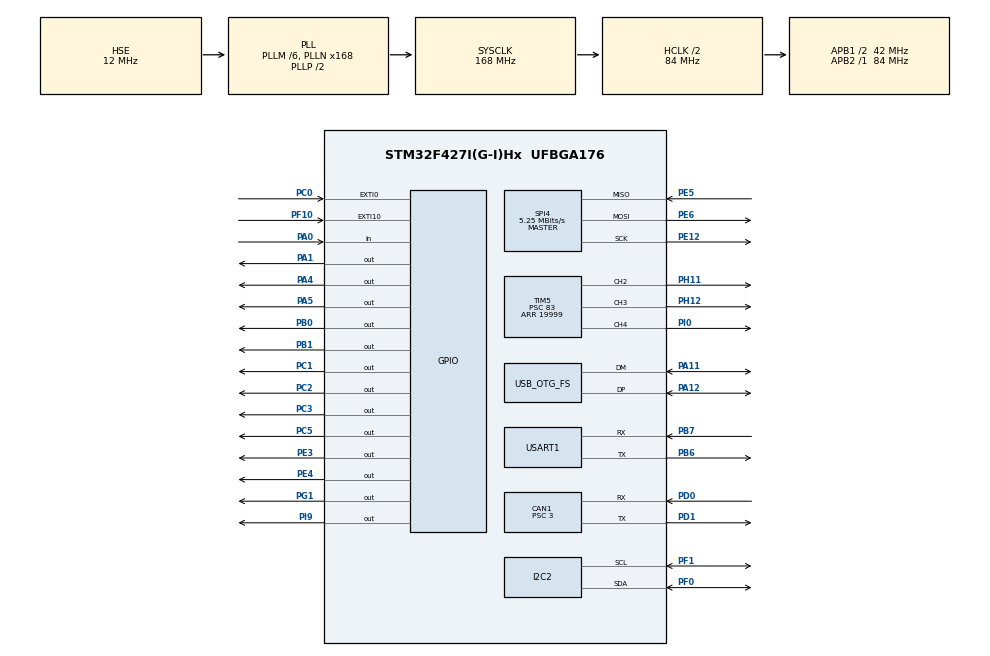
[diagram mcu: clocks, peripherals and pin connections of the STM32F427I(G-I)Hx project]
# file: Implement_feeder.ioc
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CAN1.BS1=CAN_BS1_9TQ
CAN1.BS2=CAN_BS2_4TQ
CAN1.CalculateBaudRate=1000000
CAN1.CalculateTimeBit=1000
CAN1.CalculateTimeQuantum=71.42857142857143
CAN1.Prescaler=3
Dma.Request0=USART1_RX
Dma.Request1=SPI4_TX
Dma.SPI4_TX.1.Direction=DMA_MEMORY_TO_PERIPH
Dma.SPI4_TX.1.FIFOMode=DMA_FIFOMODE_DISABLE
Dma.SPI4_TX.1.Instance=DMA2_Stream1
Dma.SPI4_TX.1.MemDataAlignment=DMA_MDATAALIGN_BYTE
Dma.SPI4_TX.1.MemInc=DMA_MINC_ENABLE
Dma.SPI4_TX.1.Mode=DMA_NORMAL
Dma.SPI4_TX.1.PeriphDataAlignment=DMA_PDATAALIGN_BYTE
Dma.SPI4_TX.1.PeriphInc=DMA_PINC_DISABLE
Dma.SPI4_TX.1.Priority=DMA_PRIORITY_LOW
Dma.USART1_RX.0.Direction=DMA_PERIPH_TO_MEMORY
Dma.USART1_RX.0.FIFOMode=DMA_FIFOMODE_DISABLE
Dma.USART1_RX.0.Instance=DMA2_Stream2
Dma.USART1_RX.0.MemDataAlignment=DMA_MDATAALIGN_BYTE
Dma.USART1_RX.0.MemInc=DMA_MINC_ENABLE
Dma.USART1_RX.0.Mode=DMA_CIRCULAR
Dma.USART1_RX.0.PeriphDataAlignment=DMA_PDATAALIGN_BYTE
Dma.USART1_RX.0.PeriphInc=DMA_PINC_DISABLE
Dma.USART1_RX.0.Priority=DMA_PRIORITY_LOW
FREERTOS.Tasks01=defaultTask,24,128,StartDefaultTask,Default,NULL,Dynamic,NULL,NULL;feederTask,24,128,FeederTask,As weak,NULL,Dynamic,NULL,NULL
FREERTOS.configUSE_NEWLIB_REENTRANT=1
Mcu.Family=STM32F4
Mcu.Name=STM32F427I(G-I)Hx
Mcu.Package=UFBGA176
NVIC.CAN1_RX0_IRQn=true\:5\:0\:false\:false\:true\:true\:true\:true\:true
NVIC.DMA2_Stream1_IRQn=true\:5\:0\:false\:false\:true\:true\:false\:true\:true
NVIC.DMA2_Stream2_IRQn=true\:5\:0\:false\:false\:true\:true\:false\:true\:true
NVIC.EXTI0_IRQn=true\:5\:0\:false\:false\:true\:true\:true\:true\:true
NVIC.EXTI15_10_IRQn=true\:5\:0\:false\:false\:true\:true\:true\:true\:true
NVIC.OTG_FS_IRQn=true\:5\:0\:false\:false\:true\:true\:true\:true\:true
NVIC.PriorityGroup=NVIC_PRIORITYGROUP_4
NVIC.TIM6_DAC_IRQn=true\:15\:0\:false\:false\:true\:false\:false\:true\:true
NVIC.TimeBase=TIM6_DAC_IRQn
NVIC.TimeBaseIP=TIM6
NVIC.USART1_IRQn=true\:5\:0\:false\:false\:true\:true\:true\:true\:true
PA0/WKUP.GPIO_PuPd=GPIO_PULLUP
PA0/WKUP.Signal=GPIO_Input
PA1.Signal=GPIO_Output
PA11.Mode=Device_Only
PA11.Signal=USB_OTG_FS_DM
PA12.Mode=Device_Only
PA12.Signal=USB_OTG_FS_DP
PA13.Mode=Serial_Wire
PA13.Signal=SYS_JTMS-SWDIO
PA14.Mode=Serial_Wire
PA14.Signal=SYS_JTCK-SWCLK
PA4.Signal=GPIO_Output
PA5.Signal=GPIO_Output
PB0.Signal=GPIO_Output
PB1.Signal=GPIO_Output
PB6.Mode=Asynchronous
PB6.Signal=USART1_TX
PB7.Mode=Asynchronous
PB7.Signal=USART1_RX
PC0.GPIO_ModeDefaultEXTI=GPIO_MODE_IT_FALLING
PC0.GPIO_PuPd=GPIO_PULLUP
PC0.Signal=GPXTI0
PC1.Signal=GPIO_Output
PC2.Signal=GPIO_Output
PC3.Signal=GPIO_Output
PC5.Signal=GPIO_Output
PD0.Mode=CAN_Activate
PD0.Signal=CAN1_RX
PD1.Mode=CAN_Activate
PD1.Signal=CAN1_TX
PE12.Mode=Full_Duplex_Master
PE12.Signal=SPI4_SCK
PE3.Signal=GPIO_Output
PE4.Signal=GPIO_Output
PE5.Mode=Full_Duplex_Master
PE5.Signal=SPI4_MISO
PE6.Mode=Full_Duplex_Master
PE6.Signal=SPI4_MOSI
PF0.Mode=I2C
PF0.Signal=I2C2_SDA
PF1.Mode=I2C
PF1.Signal=I2C2_SCL
PF10.GPIO_ModeDefaultEXTI=GPIO_MODE_IT_FALLING
PF10.GPIO_PuPd=GPIO_PULLUP
PF10.Signal=GPXTI10
PG1.Signal=GPIO_Output
PH0/OSC_IN.Mode=HSE-External-Oscillator
PH0/OSC_IN.Signal=RCC_OSC_IN
PH1/OSC_OUT.Mode=HSE-External-Oscillator
PH1/OSC_OUT.Signal=RCC_OSC_OUT
PH11.Signal=S_TIM5_CH2
PH12.Signal=S_TIM5_CH3
PI0.Signal=S_TIM5_CH4
PI9.Signal=GPIO_Output
ProjectManager.HeapSize=0x200
ProjectManager.StackSize=0x400
ProjectManager.TargetToolchain=STM32CubeIDE
RCC.48MHZClocksFreq_Value=48000000
RCC.AHBCLKDivider=RCC_SYSCLK_DIV2
RCC.AHBFreq_Value=84000000
RCC.APB1CLKDivider=RCC_HCLK_DIV2
RCC.APB1Freq_Value=42000000
RCC.APB1TimFreq_Value=84000000
RCC.APB2Freq_Value=84000000
RCC.APB2TimFreq_Value=84000000
RCC.CortexFreq_Value=84000000
RCC.HCLKFreq_Value=84000000
RCC.HSE_VALUE=12000000
RCC.HSI_VALUE=16000000
RCC.LSE_VALUE=32768
RCC.PLLM=6
RCC.PLLN=168
RCC.PLLQ=7
RCC.SYSCLKFreq_VALUE=168000000
RCC.SYSCLKSource=RCC_SYSCLKSOURCE_PLLCLK
RCC.VCOOutputFreq_Value=336000000
SH.S_TIM5_CH2.0=TIM5_CH2,PWM Generation2 CH2
SH.S_TIM5_CH3.0=TIM5_CH3,PWM Generation3 CH3
SH.S_TIM5_CH4.0=TIM5_CH4,PWM Generation4 CH4
SPI4.BaudRatePrescaler=SPI_BAUDRATEPRESCALER_16
SPI4.CalculateBaudRate=5.25 MBits/s
SPI4.DataSize=SPI_DATASIZE_8BIT
SPI4.Direction=SPI_DIRECTION_2LINES
SPI4.Mode=SPI_MODE_MASTER
SPI4.VirtualType=VM_MASTER
TIM5.Channel-PWM\ Generation2\ CH2=TIM_CHANNEL_2
TIM5.Channel-PWM\ Generation3\ CH3=TIM_CHANNEL_3
TIM5.Channel-PWM\ Generation4\ CH4=TIM_CHANNEL_4
TIM5.Period=19999
TIM5.Prescaler=83
USART1.VirtualMode=VM_ASYNC
USB_DEVICE.CLASS_NAME_FS=CDC
USB_DEVICE.VirtualMode-CDC_FS=Cdc
USB_DEVICE.VirtualModeFS=Cdc_FS
USB_OTG_FS.VirtualMode=Device_Only
VP_DMA2D_VS_DMA2D.Mode=DMA2D_Activate
VP_FREERTOS_VS_CMSIS_V2.Mode=CMSIS_V2
VP_SYS_VS_tim6.Mode=TIM6
VP_USB_DEVICE_VS_USB_DEVICE_CDC_FS.Mode=CDC_FS
board=custom

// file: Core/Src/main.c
/* USER CODE BEGIN Header */
/**
  ******************************************************************************
  * @file           : main.c
  * @brief          : Main program body
  ******************************************************************************
  * @attention
  *
  * Copyright (c) 2025 STMicroelectronics.
  * All rights reserved.
  *
  * This software is licensed under terms that can be found in the LICENSE file
  * in the root directory of this software component.
  * If no LICENSE file comes with this software, it is provided AS-IS.
  *
  ******************************************************************************
  */
/* USER CODE END Header */
#include "main.h"
#include "cmsis_os.h"
#include "usb_device.h"

/* USER CODE BEGIN Includes */
#include "remote_control.h"
#include "hx711.h"
#include "./LCD_CAP/LCD/lcd.h"
#include "./LCD_CAP/TOUCH/touch.h"
#include "./LCD_CAP/GUI/GUI.h"
#include "lvgl.h"
//#include "lvgl_private.h"
#include <stdio.h>
#include "ui.h"
#include "usbd_cdc_if.h"
#include <string.h>
#include "bsp_damiao.h"
#include <math.h>

/* USER CODE END Includes */

/* USER CODE BEGIN PTD */
int16_t motor_rpm1;
/* USER CODE END PTD */

/* USER CODE BEGIN PD */
#define MY_DISP_VER_RES LCD_H
#define MY_DISP_HOR_RES LCD_W
/* Declare buffer for 1/10 screen size; BYTES_PER_PIXEL will be 2 for RGB565. */
#define BYTES_PER_PIXEL (LV_COLOR_FORMAT_GET_SIZE(LV_COLOR_FORMAT_RGB565))
#define buffer_divide 10
static uint8_t buf1[LCD_W * LCD_H / buffer_divide * BYTES_PER_PIXEL];
//static uint8_t buf2[LCD_W * LCD_H / buffer_divide * BYTES_PER_PIXEL];
volatile lv_mutex_t lv_mutex;

#define USB_LEN 128
uint8_t usbTxtBuf[USB_LEN];
/* USER CODE END PD */

CAN_HandleTypeDef hcan1;

DMA2D_HandleTypeDef hdma2d;

I2C_HandleTypeDef hi2c2;

SPI_HandleTypeDef hspi4;
DMA_HandleTypeDef hdma_spi4_tx;

TIM_HandleTypeDef htim5;

UART_HandleTypeDef huart1;
DMA_HandleTypeDef hdma_usart1_rx;

/* Definitions for defaultTask */
osThreadId_t defaultTaskHandle;
const osThreadAttr_t defaultTask_attributes = {
  .name = "defaultTask",
  .stack_size = 128 * 4,
  .priority = (osPriority_t) osPriorityNormal,
};
/* Definitions for feederTask */
osThreadId_t feederTaskHandle;
const osThreadAttr_t feederTask_attributes = {
  .name = "feederTask",
  .stack_size = 128 * 4,
  .priority = (osPriority_t) osPriorityNormal,
};
/* USER CODE BEGIN PV */

static uint32_t ui_stack[4096];        // 4096 words = 16 KB
static StaticTask_t ui_tcb;

static const osThreadAttr_t ui_attr = {
  .name       = "ui",
  .stack_mem  = ui_stack,
  .stack_size = sizeof(ui_stack),      // BYTES
  .cb_mem     = &ui_tcb,
  .cb_size    = sizeof(ui_tcb),
  .priority   = osPriorityNormal,
};
RC_ctrl_t rc_ctrl;
HX711 hx;
int32_t weight;
int32_t value;
extern int16_t _width;       								///< (oriented) display width
extern int16_t _height;
int32_t count = 450;
char buf_txt[32];
volatile lv_display_t * display1;
volatile uint8_t touch_flag;
//uint8_t Displ_SpiAvailable;
static lv_indev_t * touch_indev;
static lv_obj_t * keypad_ta;

extern dm_motor_t dm_pitch_motor;
float target_rpm = 0.0f;          /* Desired speed setpoint in RPM; update this variable to change target */
float commanded_rpm = 0.0f;       /* Internally ramped RPM command */
float measured_rpm = 0.0f;
float pid_int = 0.0f;
float pid_prev_err = 0.0f;

float target_position = 0.0f;
float current_position = 0.0f;
int round_counter = 0;
float tolerance = 0.06f;
float prev_pos = 0.0f;

//faster pid values
//static float pos_kp = 7.0f;
//static float pos_kd = 0.4f;

//not as fast pid values
float pos_kp = 0.5f;
float pos_kd = 0.0f;
/* USER CODE END PV */

void SystemClock_Config(void);
static void MX_GPIO_Init(void);
static void MX_DMA_Init(void);
static void MX_CAN1_Init(void);
static void MX_USART1_UART_Init(void);
static void MX_SPI4_Init(void);
static void MX_DMA2D_Init(void);
static void MX_I2C2_Init(void);
static void MX_TIM5_Init(void);
void StartDefaultTask(void *argument);
void FeederTask(void *argument);

/* USER CODE BEGIN PFP */
static void lvgl_port_init(void);
static void touch_read_cb(lv_indev_t * indev, lv_indev_data_t * data);
static void keypad_event_cb(lv_event_t * e);

/* USER CODE END PFP */

/* USER CODE BEGIN 0 */
void setup_can(){
 CAN_FilterTypeDef can_filter_st = {0};
 can_filter_st.FilterActivation = ENABLE;
 can_filter_st.FilterMode = CAN_FILTERMODE_IDMASK;
 can_filter_st.FilterScale = CAN_FILTERSCALE_32BIT;
 can_filter_st.FilterIdHigh = 0;
 can_filter_st.FilterIdLow = 0;
 can_filter_st.FilterMaskIdHigh = 0;
 can_filter_st.FilterMaskIdLow = 0;
 can_filter_st.FilterBank=0;
 can_filter_st.FilterFIFOAssignment = CAN_RX_FIFO0;
 HAL_CAN_ConfigFilter(&hcan1, &can_filter_st);
 HAL_CAN_Start(&hcan1);
 HAL_CAN_ActivateNotification(&hcan1,CAN_IT_RX_FIFO0_MSG_PENDING | CAN_IT_RX_FIFO0_FULL| CAN_IT_RX_FIFO0_OVERRUN);
}

void HAL_CAN_RxFifo0MsgPendingCallback(CAN_HandleTypeDef *hcan){
CAN_RxHeaderTypeDef rx_header;
uint8_t rx_buffer[8];
HAL_CAN_DeactivateNotification(hcan,
  CAN_IT_RX_FIFO0_MSG_PENDING | CAN_IT_RX_FIFO0_FULL| CAN_IT_RX_FIFO0_OVERRUN);
HAL_CAN_GetRxMessage(hcan, CAN_RX_FIFO0, &rx_header, rx_buffer);

if (rx_header.StdId == 0x203)
{
	motor_rpm1 = (rx_buffer[2] << 8) + rx_buffer[3];
}

if (rx_header.StdId == 0x00) {
		uint8_t motor_id = rx_buffer[0] & 0x0F;
		if (motor_id == (dm_pitch_motor.id & 0x0F)) {
			dm4310_fbdata(&dm_pitch_motor, rx_buffer);
			measured_rpm = dm_pitch_motor.para.vel * (60.0f / (2.0f * (float)M_PI));
			if ((dm_pitch_motor.para.pos < - 12.5 + tolerance) && (prev_pos > 12.5 - tolerance) ){
				round_counter += 1;
			}
			if ((dm_pitch_motor.para.pos > 12.5 - tolerance) && (prev_pos < - 12.5 + tolerance)) {
				round_counter -= 1;
			}
			current_position = round_counter*8*PI + dm_pitch_motor.para.pos;
			prev_pos = dm_pitch_motor.para.pos;
		}
	}
	HAL_CAN_ActivateNotification(hcan, CAN_IT_RX_FIFO0_MSG_PENDING | CAN_IT_RX_FIFO0_FULL| CAN_IT_RX_FIFO0_OVERRUN);
}

void ctrl_motor(int16_t torque1){
 uint8_t tx_msg[8];
 CAN_TxHeaderTypeDef CAN_tx_message;
 uint32_t send_mail_box;
 CAN_tx_message.IDE = CAN_ID_STD;
 CAN_tx_message.RTR = CAN_RTR_DATA;
 CAN_tx_message.DLC = 0x08;
 CAN_tx_message.StdId = 0x200;
 tx_msg[4] = torque1>>8;
 tx_msg[5] = torque1;
 HAL_CAN_AddTxMessage(&hcan1, &CAN_tx_message, tx_msg, &send_mail_box);
}

#define KP 10
#define KI 0.1
#define KD 0
#define INT_MAX 5000
int16_t pid_lol(int16_t setpt, int16_t curr_pt){
	static float integral;
	static float prev_error;
	float error = setpt - curr_pt;
	integral += error * KI;
	integral = (integral > INT_MAX) ? INT_MAX : (integral < -INT_MAX) ? -INT_MAX : integral;
	float diff = (prev_error - error) * KD;
	prev_error = error;
	return (error * KP) + integral + diff;

}

#define SPEED rc_ctrl.rc.ch[0]

void HAL_GPIO_EXTI_Callback(uint16_t GPIO_Pin) {
    if (GPIO_Pin == GPIO_PIN_10) {
        touch_flag = 1;
    }
}

void tft_set_addr_window(uint16_t x0,uint16_t y0,uint16_t x1,uint16_t y1)
{
    uint8_t caset[4] = { x0>>8, x0&0xFF, x1>>8, x1&0xFF };
    uint8_t raset[4] = { y0>>8, y0&0xFF, y1>>8, y1&0xFF };

    LCD_WR_REG(0x2A);
    LCD_WR_DATA(caset[0]);
    LCD_WR_DATA(caset[1]);
    LCD_WR_DATA(caset[2]);
    LCD_WR_DATA(caset[3]);

    LCD_WR_REG(0x2B);
    LCD_WR_DATA(raset[0]);
    LCD_WR_DATA(raset[1]);
    LCD_WR_DATA(raset[2]);
    LCD_WR_DATA(raset[3]);

    LCD_WR_REG(0x2C); // RAMWR
}

void tft_put_pixel(uint16_t x,uint16_t y,uint16_t color)
{
    tft_set_addr_window(x,y,x,y);
    Lcd_WriteData_16Bit(color);
}

void my_flush_cb(lv_display_t * display, const lv_area_t * area, uint8_t * px_map)
{
    uint32_t w = (uint32_t)(area->x2 - area->x1 + 1);
    uint32_t h = (uint32_t)(area->y2 - area->y1 + 1);
    uint32_t size = w * h * BYTES_PER_PIXEL;

    LCD_SetWindows(area->x1, area->y1, area->x2, area->y2);
    LCD_CS_CLR;
    LCD_RS_SET;
    while (size > 0U) {
      uint16_t chunk = (size > 0xFFFFU) ? 0xFFFFU : (uint16_t)size;
      HAL_SPI_Transmit(&hspi4, px_map, chunk, HAL_MAX_DELAY);
      px_map += chunk;
      size -= chunk;
    }
    LCD_CS_SET;
    lv_display_flush_ready(display);
}

//int32_t get_var_counter(){
//	return count;
//}

//void set_var_counter(int32_t value){
//	count = value;
//}

static void lvgl_port_init(void)
{
  lv_init();
  lv_tick_set_cb(HAL_GetTick);

  display1 = lv_display_create(MY_DISP_HOR_RES, MY_DISP_VER_RES);
  lv_display_set_color_format((lv_display_t *)display1, LV_COLOR_FORMAT_RGB565_SWAPPED);
  lv_display_set_buffers(display1, buf1, NULL, sizeof(buf1), LV_DISPLAY_RENDER_MODE_PARTIAL);
  lv_display_set_flush_cb(display1, my_flush_cb);

  touch_indev = lv_indev_create();
  lv_indev_set_type(touch_indev, LV_INDEV_TYPE_POINTER);
  lv_indev_set_read_cb(touch_indev, touch_read_cb);
  lv_indev_set_display(touch_indev, (lv_display_t *)display1);
}

static void touch_read_cb(lv_indev_t * indev, lv_indev_data_t * data)
{
  (void)indev;
  if (tp_dev.scan) {
    tp_dev.scan();
  }

  if (tp_dev.sta & TP_PRES_DOWN) {
    data->state = LV_INDEV_STATE_PRESSED;
    data->point.x = tp_dev.x[0];
    data->point.y = tp_dev.y[0];
  } else {
    data->state = LV_INDEV_STATE_RELEASED;
  }
}

void ui_init1(void) {
  lv_obj_t * screen = lv_scr_act();
  lv_obj_t * root = lv_obj_create(screen);
  lv_obj_set_size(root, LV_PCT(100), LV_PCT(100));
  lv_obj_set_flex_flow(root, LV_FLEX_FLOW_ROW);
  lv_obj_set_flex_align(root, LV_FLEX_ALIGN_START, LV_FLEX_ALIGN_CENTER, LV_FLEX_ALIGN_CENTER);
  lv_obj_set_style_pad_all(root, 12, 0);
  lv_obj_set_style_pad_gap(root, 12, 0);

  lv_obj_t * spinner = lv_spinner_create(root);
  lv_obj_set_size(spinner, 80, 80);

  lv_obj_t * right = lv_obj_create(root);
  lv_obj_set_size(right, LV_PCT(70), LV_PCT(100));
  lv_obj_set_flex_flow(right, LV_FLEX_FLOW_COLUMN);
  lv_obj_set_flex_align(right, LV_FLEX_ALIGN_START, LV_FLEX_ALIGN_START, LV_FLEX_ALIGN_START);
  lv_obj_set_style_pad_all(right, 8, 0);
  lv_obj_set_style_pad_gap(right, 8, 0);

  keypad_ta = lv_textarea_create(right);
  lv_obj_set_width(keypad_ta, LV_PCT(100));
  lv_obj_set_height(keypad_ta, 48);
  lv_textarea_set_one_line(keypad_ta, true);
  lv_textarea_set_placeholder_text(keypad_ta, "Enter number");

  static const char * btnm_map[] = {
    "1", "2", "3", "\n",
    "4", "5", "6", "\n",
    "7", "8", "9", "\n",
    "0", "Del", ""
  };

  lv_obj_t * btnm = lv_btnmatrix_create(right);
  lv_btnmatrix_set_map(btnm, btnm_map);
  lv_obj_set_width(btnm, LV_PCT(100));
  lv_obj_set_flex_grow(btnm, 1);
  lv_obj_add_event_cb(btnm, keypad_event_cb, LV_EVENT_VALUE_CHANGED, keypad_ta);
}

static void keypad_event_cb(lv_event_t * e)
{
  lv_obj_t * btnm = lv_event_get_target(e);
  lv_obj_t * ta = lv_event_get_user_data(e);
  uint16_t btn_id = lv_btnmatrix_get_selected_btn(btnm);
  const char * txt = lv_btnmatrix_get_btn_text(btnm, btn_id);

  if (txt == NULL || ta == NULL) {
    return;
  }

  if (strcmp(txt, "Del") == 0) {
    lv_textarea_delete_char(ta);
    return;
  }

  lv_textarea_add_text(ta, txt);
}

uint8_t usbTxBuf[USB_LEN];
uint8_t usbRxBuf[USB_LEN];

uint16_t usbTxBufLen = 0;
uint16_t usbRxBufLen = 0;

uint8_t  usbRxFlag 	 = 0;

//void my_log_cb(lv_log_level_t level, const char *msg)
//{
//    static uint8_t line[USB_LEN];
//    size_t n = strlen(msg);
//    if (n > USB_LEN - 3) n = USB_LEN - 3;
//    memcpy(line, msg, n);
//    line[n++] = '\r';
//    line[n++] = '\n';
//    line[n] = '\0';
//    CDC_Transmit_FS(line, (uint16_t)n);
//}

/* USER CODE END 0 */

int main(void)
{

  /* MCU Configuration--------------------------------------------------------*/

  /* Reset of all peripherals, Initializes the Flash interface and the Systick. */
  HAL_Init();

  /* Configure the system clock */
  SystemClock_Config();

  /* Initialize all configured peripherals */
  MX_GPIO_Init();
  MX_DMA_Init();
  MX_CAN1_Init();
  MX_USART1_UART_Init();
  MX_SPI4_Init();
  MX_DMA2D_Init();
  MX_I2C2_Init();
  MX_TIM5_Init();
  /* USER CODE BEGIN 2 */
  MX_USB_DEVICE_Init();

//  HAL_GPIO_WritePin(GPIOE, GPIO_PIN_4, GPIO_PIN_SET);
//  HAL_GPIO_WritePin(GPIOB, GPIO_PIN_1, GPIO_PIN_SET);
  setup_can();
  remote_control_init();
//  hx711_init(&hx, GPIOF, GPIO_PIN_0, GPIOF, GPIO_PIN_1,HX711_GAIN_128);
  LCD_Init();
  TP_Init();

  lvgl_port_init();

//  uint32_t counting = 0;
//  uint32_t counter = 0;
  /* USER CODE END 2 */

  /* Init scheduler */
  osKernelInitialize();

  /* USER CODE BEGIN RTOS_MUTEX */
  /* add mutexes, ... */
//  lv_mutex_init(&lv_mutex);
  /* USER CODE END RTOS_MUTEX */

  /* Create the thread(s) */
  /* creation of defaultTask */
//  defaultTaskHandle = osThreadNew(StartDefaultTask, NULL, &defaultTask_attributes);

  /* creation of feederTask */
  feederTaskHandle = osThreadNew(FeederTask, NULL, &feederTask_attributes);

  /* USER CODE BEGIN RTOS_EVENTS */
  /* add events, ... */
//  ui_init();
  /* USER CODE END RTOS_EVENTS */

  /* Start scheduler */
  osKernelStart();

  /* We should never get here as control is now taken by the scheduler */
  /* Infinite loop */
  while (1)
  {

  }
}

void SystemClock_Config(void)
{
  RCC_OscInitTypeDef RCC_OscInitStruct = {0};
  RCC_ClkInitTypeDef RCC_ClkInitStruct = {0};

  /** Configure the main internal regulator output voltage
  */
  __HAL_RCC_PWR_CLK_ENABLE();
  __HAL_PWR_VOLTAGESCALING_CONFIG(PWR_REGULATOR_VOLTAGE_SCALE3);

  /** Initializes the RCC Oscillators according to the specified parameters
  * in the RCC_OscInitTypeDef structure.
  */
  RCC_OscInitStruct.OscillatorType = RCC_OSCILLATORTYPE_HSE;
  RCC_OscInitStruct.HSEState = RCC_HSE_ON;
  RCC_OscInitStruct.PLL.PLLState = RCC_PLL_ON;
  RCC_OscInitStruct.PLL.PLLSource = RCC_PLLSOURCE_HSE;
  RCC_OscInitStruct.PLL.PLLM = 6;
  RCC_OscInitStruct.PLL.PLLN = 168;
  RCC_OscInitStruct.PLL.PLLP = RCC_PLLP_DIV2;
  RCC_OscInitStruct.PLL.PLLQ = 7;
  if (HAL_RCC_OscConfig(&RCC_OscInitStruct) != HAL_OK)
  {
    Error_Handler();
  }

  /** Initializes the CPU, AHB and APB buses clocks
  */
  RCC_ClkInitStruct.ClockType = RCC_CLOCKTYPE_HCLK|RCC_CLOCKTYPE_SYSCLK
                              |RCC_CLOCKTYPE_PCLK1|RCC_CLOCKTYPE_PCLK2;
  RCC_ClkInitStruct.SYSCLKSource = RCC_SYSCLKSOURCE_PLLCLK;
  RCC_ClkInitStruct.AHBCLKDivider = RCC_SYSCLK_DIV2;
  RCC_ClkInitStruct.APB1CLKDivider = RCC_HCLK_DIV2;
  RCC_ClkInitStruct.APB2CLKDivider = RCC_HCLK_DIV1;

  if (HAL_RCC_ClockConfig(&RCC_ClkInitStruct, FLASH_LATENCY_2) != HAL_OK)
  {
    Error_Handler();
  }
}

static void MX_CAN1_Init(void)
{

  hcan1.Instance = CAN1;
  hcan1.Init.Prescaler = 3;
  hcan1.Init.Mode = CAN_MODE_NORMAL;
  hcan1.Init.SyncJumpWidth = CAN_SJW_1TQ;
  hcan1.Init.TimeSeg1 = CAN_BS1_9TQ;
  hcan1.Init.TimeSeg2 = CAN_BS2_4TQ;
  hcan1.Init.TimeTriggeredMode = DISABLE;
  hcan1.Init.AutoBusOff = DISABLE;
  hcan1.Init.AutoWakeUp = DISABLE;
  hcan1.Init.AutoRetransmission = DISABLE;
  hcan1.Init.ReceiveFifoLocked = DISABLE;
  hcan1.Init.TransmitFifoPriority = DISABLE;
  if (HAL_CAN_Init(&hcan1) != HAL_OK)
  {
    Error_Handler();
  }

}

static void MX_DMA2D_Init(void)
{

  hdma2d.Instance = DMA2D;
  hdma2d.Init.Mode = DMA2D_M2M;
  hdma2d.Init.ColorMode = DMA2D_OUTPUT_ARGB8888;
  hdma2d.Init.OutputOffset = 0;
  hdma2d.LayerCfg[1].InputOffset = 0;
  hdma2d.LayerCfg[1].InputColorMode = DMA2D_INPUT_ARGB8888;
  hdma2d.LayerCfg[1].AlphaMode = DMA2D_NO_MODIF_ALPHA;
  hdma2d.LayerCfg[1].InputAlpha = 0;
  if (HAL_DMA2D_Init(&hdma2d) != HAL_OK)
  {
    Error_Handler();
  }
  if (HAL_DMA2D_ConfigLayer(&hdma2d, 1) != HAL_OK)
  {
    Error_Handler();
  }

}

static void MX_I2C2_Init(void)
{

  hi2c2.Instance = I2C2;
  hi2c2.Init.ClockSpeed = 100000;
  hi2c2.Init.DutyCycle = I2C_DUTYCYCLE_2;
  hi2c2.Init.OwnAddress1 = 0;
  hi2c2.Init.AddressingMode = I2C_ADDRESSINGMODE_7BIT;
  hi2c2.Init.DualAddressMode = I2C_DUALADDRESS_DISABLE;
  hi2c2.Init.OwnAddress2 = 0;
  hi2c2.Init.GeneralCallMode = I2C_GENERALCALL_DISABLE;
  hi2c2.Init.NoStretchMode = I2C_NOSTRETCH_DISABLE;
  if (HAL_I2C_Init(&hi2c2) != HAL_OK)
  {
    Error_Handler();
  }

  /** Configure Analogue filter
  */
  if (HAL_I2CEx_ConfigAnalogFilter(&hi2c2, I2C_ANALOGFILTER_ENABLE) != HAL_OK)
  {
    Error_Handler();
  }

  /** Configure Digital filter
  */
  if (HAL_I2CEx_ConfigDigitalFilter(&hi2c2, 0) != HAL_OK)
  {
    Error_Handler();
  }

}

static void MX_SPI4_Init(void)
{

  /* SPI4 parameter configuration*/
  hspi4.Instance = SPI4;
  hspi4.Init.Mode = SPI_MODE_MASTER;
  hspi4.Init.Direction = SPI_DIRECTION_2LINES;
  hspi4.Init.DataSize = SPI_DATASIZE_8BIT;
  hspi4.Init.CLKPolarity = SPI_POLARITY_LOW;
  hspi4.Init.CLKPhase = SPI_PHASE_1EDGE;
  hspi4.Init.NSS = SPI_NSS_SOFT;
  hspi4.Init.BaudRatePrescaler = SPI_BAUDRATEPRESCALER_16;
  hspi4.Init.FirstBit = SPI_FIRSTBIT_MSB;
  hspi4.Init.TIMode = SPI_TIMODE_DISABLE;
  hspi4.Init.CRCCalculation = SPI_CRCCALCULATION_DISABLE;
  hspi4.Init.CRCPolynomial = 10;
  if (HAL_SPI_Init(&hspi4) != HAL_OK)
  {
    Error_Handler();
  }

}

static void MX_TIM5_Init(void)
{

  TIM_MasterConfigTypeDef sMasterConfig = {0};
  TIM_OC_InitTypeDef sConfigOC = {0};

  htim5.Instance = TIM5;
  htim5.Init.Prescaler = 83;
  htim5.Init.CounterMode = TIM_COUNTERMODE_UP;
  htim5.Init.Period = 19999;
  htim5.Init.ClockDivision = TIM_CLOCKDIVISION_DIV1;
  htim5.Init.AutoReloadPreload = TIM_AUTORELOAD_PRELOAD_DISABLE;
  if (HAL_TIM_PWM_Init(&htim5) != HAL_OK)
  {
    Error_Handler();
  }
  sMasterConfig.MasterOutputTrigger = TIM_TRGO_RESET;
  sMasterConfig.MasterSlaveMode = TIM_MASTERSLAVEMODE_DISABLE;
  if (HAL_TIMEx_MasterConfigSynchronization(&htim5, &sMasterConfig) != HAL_OK)
  {
    Error_Handler();
  }
  sConfigOC.OCMode = TIM_OCMODE_PWM1;
  sConfigOC.Pulse = 0;
  sConfigOC.OCPolarity = TIM_OCPOLARITY_HIGH;
  sConfigOC.OCFastMode = TIM_OCFAST_DISABLE;
  if (HAL_TIM_PWM_ConfigChannel(&htim5, &sConfigOC, TIM_CHANNEL_2) != HAL_OK)
  {
    Error_Handler();
  }
  if (HAL_TIM_PWM_ConfigChannel(&htim5, &sConfigOC, TIM_CHANNEL_3) != HAL_OK)
  {
    Error_Handler();
  }
  if (HAL_TIM_PWM_ConfigChannel(&htim5, &sConfigOC, TIM_CHANNEL_4) != HAL_OK)
  {
    Error_Handler();
  }
  HAL_TIM_MspPostInit(&htim5);

}

static void MX_USART1_UART_Init(void)
{

  huart1.Instance = USART1;
  huart1.Init.BaudRate = 115200;
  huart1.Init.WordLength = UART_WORDLENGTH_8B;
  huart1.Init.StopBits = UART_STOPBITS_1;
  huart1.Init.Parity = UART_PARITY_NONE;
  huart1.Init.Mode = UART_MODE_TX_RX;
  huart1.Init.HwFlowCtl = UART_HWCONTROL_NONE;
  huart1.Init.OverSampling = UART_OVERSAMPLING_16;
  if (HAL_UART_Init(&huart1) != HAL_OK)
  {
    Error_Handler();
  }

}

static void MX_DMA_Init(void)
{

  /* DMA controller clock enable */
  __HAL_RCC_DMA2_CLK_ENABLE();

  /* DMA interrupt init */
  /* DMA2_Stream1_IRQn interrupt configuration */
  HAL_NVIC_SetPriority(DMA2_Stream1_IRQn, 5, 0);
  HAL_NVIC_EnableIRQ(DMA2_Stream1_IRQn);
  /* DMA2_Stream2_IRQn interrupt configuration */
  HAL_NVIC_SetPriority(DMA2_Stream2_IRQn, 5, 0);
  HAL_NVIC_EnableIRQ(DMA2_Stream2_IRQn);

}

static void MX_GPIO_Init(void)
{
  GPIO_InitTypeDef GPIO_InitStruct = {0};

  /* GPIO Ports Clock Enable */
  __HAL_RCC_GPIOE_CLK_ENABLE();
  __HAL_RCC_GPIOA_CLK_ENABLE();
  __HAL_RCC_GPIOB_CLK_ENABLE();
  __HAL_RCC_GPIOD_CLK_ENABLE();
  __HAL_RCC_GPIOI_CLK_ENABLE();
  __HAL_RCC_GPIOF_CLK_ENABLE();
  __HAL_RCC_GPIOH_CLK_ENABLE();
  __HAL_RCC_GPIOC_CLK_ENABLE();
  __HAL_RCC_GPIOG_CLK_ENABLE();

  /*Configure GPIO pin Output Level */
  HAL_GPIO_WritePin(GPIOE, GPIO_PIN_3|GPIO_PIN_4, GPIO_PIN_RESET);

  /*Configure GPIO pin Output Level */
  HAL_GPIO_WritePin(GPIOI, GPIO_PIN_9, GPIO_PIN_RESET);

  /*Configure GPIO pin Output Level */
  HAL_GPIO_WritePin(GPIOC, GPIO_PIN_1|GPIO_PIN_2|GPIO_PIN_3|GPIO_PIN_5, GPIO_PIN_RESET);

  /*Configure GPIO pin Output Level */
  HAL_GPIO_WritePin(GPIOG, GPIO_PIN_1, GPIO_PIN_RESET);

  /*Configure GPIO pin Output Level */
  HAL_GPIO_WritePin(GPIOA, GPIO_PIN_1|GPIO_PIN_4|GPIO_PIN_5, GPIO_PIN_RESET);

  /*Configure GPIO pin Output Level */
  HAL_GPIO_WritePin(GPIOB, GPIO_PIN_1|GPIO_PIN_0, GPIO_PIN_RESET);

  /*Configure GPIO pins : PE3 PE4 */
  GPIO_InitStruct.Pin = GPIO_PIN_3|GPIO_PIN_4;
  GPIO_InitStruct.Mode = GPIO_MODE_OUTPUT_PP;
  GPIO_InitStruct.Pull = GPIO_NOPULL;
  GPIO_InitStruct.Speed = GPIO_SPEED_FREQ_LOW;
  HAL_GPIO_Init(GPIOE, &GPIO_InitStruct);

  /*Configure GPIO pin : PI9 */
  GPIO_InitStruct.Pin = GPIO_PIN_9;
  GPIO_InitStruct.Mode = GPIO_MODE_OUTPUT_PP;
  GPIO_InitStruct.Pull = GPIO_NOPULL;
  GPIO_InitStruct.Speed = GPIO_SPEED_FREQ_LOW;
  HAL_GPIO_Init(GPIOI, &GPIO_InitStruct);

  /*Configure GPIO pin : PF10 */
  GPIO_InitStruct.Pin = GPIO_PIN_10;
  GPIO_InitStruct.Mode = GPIO_MODE_IT_FALLING;
  GPIO_InitStruct.Pull = GPIO_PULLUP;
  HAL_GPIO_Init(GPIOF, &GPIO_InitStruct);

  /*Configure GPIO pin : PC0 */
  GPIO_InitStruct.Pin = GPIO_PIN_0;
  GPIO_InitStruct.Mode = GPIO_MODE_IT_FALLING;
  GPIO_InitStruct.Pull = GPIO_PULLUP;
  HAL_GPIO_Init(GPIOC, &GPIO_InitStruct);

  /*Configure GPIO pins : PC1 PC2 PC3 PC5 */
  GPIO_InitStruct.Pin = GPIO_PIN_1|GPIO_PIN_2|GPIO_PIN_3|GPIO_PIN_5;
  GPIO_InitStruct.Mode = GPIO_MODE_OUTPUT_PP;
  GPIO_InitStruct.Pull = GPIO_NOPULL;
  GPIO_InitStruct.Speed = GPIO_SPEED_FREQ_LOW;
  HAL_GPIO_Init(GPIOC, &GPIO_InitStruct);

  /*Configure GPIO pin : PG1 */
  GPIO_InitStruct.Pin = GPIO_PIN_1;
  GPIO_InitStruct.Mode = GPIO_MODE_OUTPUT_PP;
  GPIO_InitStruct.Pull = GPIO_NOPULL;
  GPIO_InitStruct.Speed = GPIO_SPEED_FREQ_LOW;
  HAL_GPIO_Init(GPIOG, &GPIO_InitStruct);

  /*Configure GPIO pins : PA1 PA4 PA5 */
  GPIO_InitStruct.Pin = GPIO_PIN_1|GPIO_PIN_4|GPIO_PIN_5;
  GPIO_InitStruct.Mode = GPIO_MODE_OUTPUT_PP;
  GPIO_InitStruct.Pull = GPIO_NOPULL;
  GPIO_InitStruct.Speed = GPIO_SPEED_FREQ_LOW;
  HAL_GPIO_Init(GPIOA, &GPIO_InitStruct);

  /*Configure GPIO pin : PA0 */
  GPIO_InitStruct.Pin = GPIO_PIN_0;
  GPIO_InitStruct.Mode = GPIO_MODE_INPUT;
  GPIO_InitStruct.Pull = GPIO_PULLUP;
  HAL_GPIO_Init(GPIOA, &GPIO_InitStruct);

  /*Configure GPIO pins : PB1 PB0 */
  GPIO_InitStruct.Pin = GPIO_PIN_1|GPIO_PIN_0;
  GPIO_InitStruct.Mode = GPIO_MODE_OUTPUT_PP;
  GPIO_InitStruct.Pull = GPIO_NOPULL;
  GPIO_InitStruct.Speed = GPIO_SPEED_FREQ_LOW;
  HAL_GPIO_Init(GPIOB, &GPIO_InitStruct);

  /* EXTI interrupt init*/
  HAL_NVIC_SetPriority(EXTI0_IRQn, 5, 0);
  HAL_NVIC_EnableIRQ(EXTI0_IRQn);

  HAL_NVIC_SetPriority(EXTI15_10_IRQn, 5, 0);
  HAL_NVIC_EnableIRQ(EXTI15_10_IRQn);

}

void StartDefaultTask(void *argument)
{
  /* init code for USB_DEVICE */
  MX_USB_DEVICE_Init();
  /* USER CODE BEGIN 5 */

//  uint32_t counting = 0;
//
//  int counter = 42;
  /* Infinite loop */
  for(;;)
  {
    uint32_t delay = lv_timer_handler();
    if (delay < 5U) {
      delay = 5U;
    }
    osDelay(delay);

  }
  /* USER CODE END 5 */
}

__weak void FeederTask(void *argument)
{
  for(;;)
  {
    osDelay(1);
  }
}

void HAL_TIM_PeriodElapsedCallback(TIM_HandleTypeDef *htim)
{
  if (htim->Instance == TIM6) {
    HAL_IncTick();
  }
}

void Error_Handler(void)
{
  __disable_irq();
  while (1)
  {
  }
}
